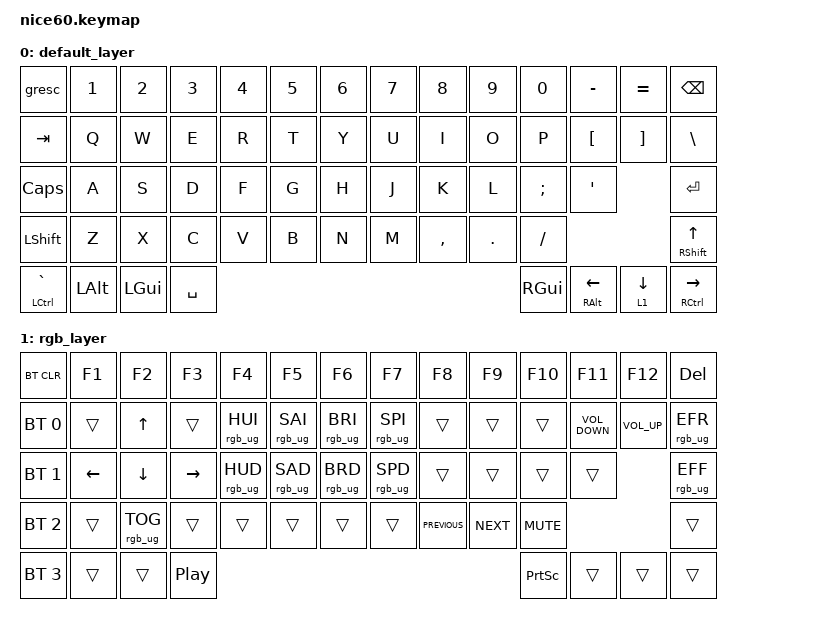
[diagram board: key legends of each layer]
/*
 * Copyright (c) 2021 Nick Winans
 *
 * SPDX-License-Identifier: MIT
 */

#include <behaviors.dtsi>
#include <dt-bindings/zmk/keys.h>
#include <dt-bindings/zmk/rgb.h>
#include <dt-bindings/zmk/bt.h>
#include <dt-bindings/zmk/outputs.h>
#include <dt-bindings/zmk/reset.h>
#include <dt-bindings/zmk/ext_power.h>

/ {
	keymap {
		compatible = "zmk,keymap";
		
		default_layer {
// ------------------------------------------------------------------------------------------
// | ESC |  1  |  2  |  3  |  4  |  5  |  6  |  7  |  8  |  9  |  0  |  -  |  =  |   BKSP   |
// | TAB  |  Q  |  W  |  E  |  R  |  T  |  Y  |  U  |  I  |  O  |  P  |  [  |  ]  |   "|"   |
// | CAPS  |  A  |  S  |  D  |  F  |  G  |  H  |  J  |  K  |  L  |  ;  |  '  |     ENTER    |
// |  SHIFT  |  Z  |  X  |  C  |  V  |  B  |  N  |  M  |  ,  |  .  |  /  |      SHIFT       |
// |  CTL  |  WIN  |  ALT  |            SPACE              |  ALT  |  WIN  |  MO(1) |  CTL  |
// ------------------------------------------------------------------------------------------
			bindings = <
	&gresc     &kp N1  &kp N2  &kp N3  &kp N4  &kp N5  &kp N6  &kp N7  &kp N8     &kp N9   &kp N0    &kp MINUS      &kp EQUAL   &kp BSPC
	&kp TAB    &kp Q   &kp W   &kp E   &kp R   &kp T   &kp Y   &kp U   &kp I      &kp O    &kp P     &kp LBKT       &kp RBKT    &kp BSLH
	&kp CLCK   &kp A   &kp S   &kp D   &kp F   &kp G   &kp H   &kp J   &kp K      &kp L    &kp SEMI  &kp SQT                    &kp RET
	&kp LSHFT  &kp Z   &kp X   &kp C   &kp V   &kp B   &kp N   &kp M   &kp COMMA  &kp DOT  &kp SLASH                            &mt RSHFT UP
	&mt LCTRL GRAVE    &kp LALT        &kp LGUI            &kp SPACE                       &kp RGUI  &mt RALT LEFT  &lt 1 DOWN  &mt RCTRL RIGHT
			>;
		};

		rgb_layer {
// ------------------------------------------------------------------------------------------------
// | BT CLR | F1  | F2  | F3  | F4  | F5  | F6  | F7  | F8  | F9  | F10  | F11 | F12 |     DEL     |
// |  BT 1   |   |  UP |   | HUEUP | SATUP | BRIUP | SPDUP |   |     |   | VOL- | VOL+ | EFFECT REV |
// |   BT 2   | LT |  DN  | RT | HUEDN | SATDN | BRIDN | SPDDN |   |     |   |     |  EFFECT FORW  |
// |    BT 3     |     |      |      |     |     |     |     |     |     |     |                   |
// |   BT 4  |      |      |             TOG RGB                | PRT SCR |       |       |        |
// ------------------------------------------------------------------------------------------------
			bindings = <
	&bt BT_CLR    &kp F1    &kp F2           &kp F3     &kp F4           &kp F5           &kp F6           &kp F7           &kp F8          &kp F9      &kp F10     &kp F11            &kp F12          &kp DEL 
	&bt BT_SEL 0  &trans    &kp UP           &trans     &rgb_ug RGB_HUI  &rgb_ug RGB_SAI  &rgb_ug RGB_BRI  &rgb_ug RGB_SPI  &trans          &trans      &trans      &kp C_VOLUME_DOWN  &kp C_VOLUME_UP  &rgb_ug RGB_EFR   
	&bt BT_SEL 1  &kp LEFT  &kp DOWN         &kp RIGHT  &rgb_ug RGB_HUD  &rgb_ug RGB_SAD  &rgb_ug RGB_BRD  &rgb_ug RGB_SPD  &trans          &trans      &trans      &trans             &rgb_ug RGB_EFF
	&bt BT_SEL 2  &trans    &rgb_ug RGB_TOG  &trans     &trans           &trans           &trans           &trans           &kp C_PREVIOUS  &kp C_NEXT  &kp K_MUTE  &trans
	&bt BT_SEL 3  &trans    &trans                                       &kp C_PLAY_PAUSE                                   &kp PSCRN       &trans      &trans      &trans 
			>;
		};
	};
};
